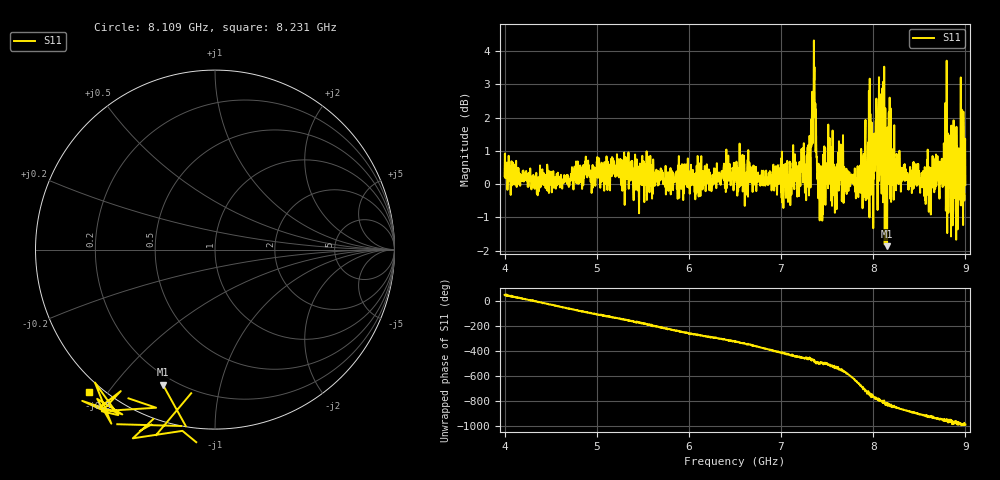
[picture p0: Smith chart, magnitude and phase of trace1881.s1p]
! Created with skrf 1.8.0 (http://scikit-rf.org).
# Hz S RI R 50.0
!freq ReS11 ImS11
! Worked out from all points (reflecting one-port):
!   1601 points, 4 GHz to 9 GHz, reference 50 ohm
!   lowest |S11| = -1.9 dB at 8.15 GHz (marker M1), VSWR 9.34, Z = 7.83 - j33.7 ohm
!   phase of S11 starts at 52 deg and turns -1044 deg over the sweep
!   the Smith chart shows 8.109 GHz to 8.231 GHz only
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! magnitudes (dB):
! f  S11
! 4 GHz  0.2
! 4.625 GHz  -0.1
! 5.25 GHz  0.2
! 5.875 GHz  0.2
! 6.5 GHz  0.5
! 7.125 GHz  0.6
! 7.281 GHz  -0.1
! 7.356 GHz  4.3
! 7.372 GHz  2.4
! 7.4 GHz  0.0
! 7.428 GHz  -0.3
! 7.538 GHz  0.9
! 7.591 GHz  0.2
! 7.65 GHz  0.7
! 7.75 GHz  -0.1
! 7.859 GHz  0.6
! 7.962 GHz  3.2
! 7.997 GHz  1.5
! 8.097 GHz  0.7
! 8.15 GHz  -1.9
! 8.181 GHz  1.4
! 8.216 GHz  0.6
! 8.375 GHz  0.3
! 8.556 GHz  -0.4
! 8.772 GHz  0.3
! 8.841 GHz  0.9
! 8.956 GHz  0.2
! 9 GHz  0.0
